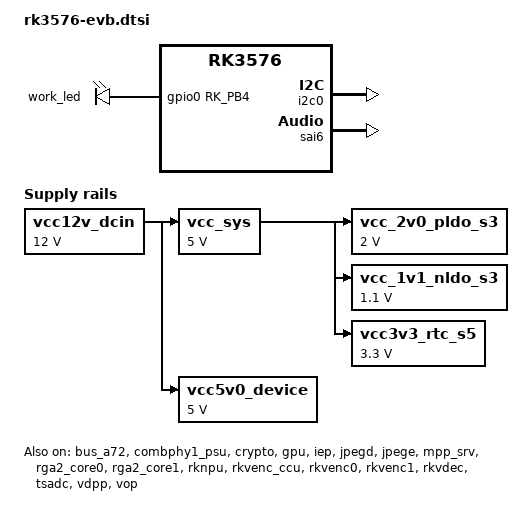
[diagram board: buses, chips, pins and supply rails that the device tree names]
// SPDX-License-Identifier: (GPL-2.0+ OR MIT)
/*
 * Copyright (c) 2024 Rockchip Electronics Co., Ltd.
 *
 */

#include <dt-bindings/gpio/gpio.h>
#include <dt-bindings/pwm/pwm.h>
#include <dt-bindings/pinctrl/rockchip.h>
#include <dt-bindings/input/rk-input.h>
#include <dt-bindings/display/drm_mipi_dsi.h>
#include <dt-bindings/display/rockchip_vop.h>
#include <dt-bindings/sensor-dev.h>
#include "rk3576-evb-input-keymap.dtsi"

/ {


	dp0_sound: dp0-sound {
		status = "disabled";
		compatible = "rockchip,hdmi";
		rockchip,mclk-fs = <512>;
		rockchip,card-name = "rockchip-dp0";
		rockchip,cpu = <&spdif_tx3>;
		rockchip,codec = <&dp0 1>;
		rockchip,jack-det;
	};

	dp1_sound: dp1-sound {
		status = "disabled";
		compatible = "rockchip,hdmi";
		rockchip,mclk-fs = <512>;
		rockchip,card-name = "rockchip-dp1";
		rockchip,cpu = <&spdif_tx3>;
		rockchip,codec = <&dp1 1>;
		rockchip,jack-det;
	};

	dp2_sound: dp2-sound {
		status = "disabled";
		compatible = "rockchip,hdmi";
		rockchip,mclk-fs = <512>;
		rockchip,card-name = "rockchip-dp2";
		rockchip,cpu = <&spdif_tx3>;
		rockchip,codec = <&dp2 1>;
		rockchip,jack-det;
	};

	edp_sound: edp-sound {
		status = "disabled";
		compatible = "rockchip,hdmi";
		rockchip,mclk-fs = <128>;
		rockchip,card-name = "rockchip-edp";
		rockchip,cpu = <&sai6>;
		rockchip,codec = <&edp 0>;
	};

	hdmi_sound: hdmi-sound {
		compatible = "rockchip,hdmi";
		rockchip,mclk-fs = <128>;
		rockchip,card-name = "rockchip-hdmi";
		rockchip,cpu = <&sai6>;
		rockchip,codec = <&hdmi>;
		rockchip,jack-det;
	};

	leds: leds {
		compatible = "gpio-leds";
		work_led: work {
			gpios = <&gpio0 RK_PB4 GPIO_ACTIVE_HIGH>;
			linux,default-trigger = "heartbeat";
		};
	};

	test-power {
		status = "okay";
	};

	vcc12v_dcin: vcc12v-dcin {
		compatible = "regulator-fixed";
		regulator-name = "vcc12v_dcin";
		regulator-always-on;
		regulator-boot-on;
		regulator-min-microvolt = <12000000>;
		regulator-max-microvolt = <12000000>;
	};

	vcc_sys: vcc5v0-sys {
		compatible = "regulator-fixed";
		regulator-name = "vcc_sys";
		regulator-always-on;
		regulator-boot-on;
		regulator-min-microvolt = <5000000>;
		regulator-max-microvolt = <5000000>;
		vin-supply = <&vcc12v_dcin>;
	};

	vcc5v0_device: vcc5v0-device {
		compatible = "regulator-fixed";
		regulator-name = "vcc5v0_device";
		regulator-always-on;
		regulator-boot-on;
		regulator-min-microvolt = <5000000>;
		regulator-max-microvolt = <5000000>;
		vin-supply = <&vcc12v_dcin>;
	};

	vcc_2v0_pldo_s3: vcc-2v0-pldo-s3 {
		compatible = "regulator-fixed";
		regulator-name = "vcc_2v0_pldo_s3";
		regulator-boot-on;
		regulator-always-on;
		regulator-min-microvolt = <2000000>;
		regulator-max-microvolt = <2000000>;
		vin-supply = <&vcc_sys>;
	};

	vcc_1v1_nldo_s3: vcc-1v1-nldo-s3 {
		compatible = "regulator-fixed";
		regulator-name = "vcc_1v1_nldo_s3";
		regulator-boot-on;
		regulator-always-on;
		regulator-min-microvolt = <1100000>;
		regulator-max-microvolt = <1100000>;
		vin-supply = <&vcc_sys>;
	};

	vcc3v3_rtc_s5: vcc3v3-rtc-s5 {
		compatible = "regulator-fixed";
		regulator-name = "vcc3v3_rtc_s5";
		regulator-boot-on;
		regulator-always-on;
		regulator-min-microvolt = <3300000>;
		regulator-max-microvolt = <3300000>;
		vin-supply = <&vcc_sys>;
	};


	 wireless_bluetooth: wireless-bluetooth {
		status = "disabled";
	};

	wireless_wlan: wireless-wlan {
		status = "disabled";
	};
	
	
};

&bus_a72 {
	bus-supply = <&vdd_logic_s0>;
	pvtm-supply = <&vdd_logic_s0>;
	status = "okay";
};



&combphy1_psu {
	status = "okay";
};

&cpu_l0 {
	cpu-supply = <&vdd_cpu_lit_s0>;
};

&cpu_b0 {
	cpu-supply = <&vdd_cpu_big_s0>;
};

&crypto {
	status = "okay";
};

&display_subsystem {
	clocks = <&hdptxphy_hdmi>;
	clock-names = "hdmi0_phy_pll";
};





&gpu {
	mali-supply = <&vdd_gpu_s0>;
	status = "okay";
};

&i2c0 {
	pinctrl-0 = <&i2c0m1_xfer>;
	status = "okay";

	gt1x: gt1x@14 {
		status = "disabled";
		compatible = "goodix,gt1x";
		/* reg = <0x14>; */
		pinctrl-names = "default";
		/* pinctrl-0 = <&touch_gpio>; */
		/* goodix,rst-gpio = <&gpio0 RK_PD0 GPIO_ACTIVE_HIGH>; */
		goodix,irq-gpio = <&gpio0 RK_PC5 IRQ_TYPE_LEVEL_LOW>;
	};
};



&iep {
	status = "okay";
};

&iep_mmu {
	status = "okay";
};

&jpegd {
	status = "okay";
};

&jpege {
	status = "okay";
};

&jpeg_mmu {
	status = "okay";
};

&mpp_srv {
	status = "okay";
};


&pinctrl {
	touch {
		touch_gpio: touch-gpio {
			rockchip,pins =
				<0 RK_PD0 RK_FUNC_GPIO &pcfg_pull_up>,
				<0 RK_PC5 RK_FUNC_GPIO &pcfg_pull_up>;
		};
	};

	
};


&rga2_core0 {
	status = "okay";
};

&rga2_core0_mmu {
	status = "okay";
};

&rga2_core1 {
	status = "okay";
};

&rga2_core1_mmu {
	status = "okay";
};

&rknpu {
	rknpu-supply = <&vdd_npu_s0>;
	status = "okay";
};

&rknpu_mmu {
	status = "okay";
};

&rkvenc_ccu {
	status = "okay";
};

&rkvenc0 {
	status = "okay";
};

&rkvenc0_mmu {
	status = "okay";
};

&rkvenc1 {
	status = "okay";
};

&rkvenc1_mmu {
	status = "okay";

};

&rkvdec {
	status = "okay";
};

&rkvdec_mmu {
	status = "okay";
};

&rockchip_suspend {
	status = "okay";
	rockchip,sleep-debug-en = <1>;

	rockchip,sleep-io-ret-config = <
		(0
		| RKPM_VCCIO3_RET_EN
		)
	>;

	rockchip,regulator-on-before-mem = <&vdd_npu_s0>;
};


&sai6 {
	status = "okay";
};





&tsadc {
	status = "okay";
};



&ufs {
	reset-gpios = <&gpio4 RK_PD0 GPIO_ACTIVE_HIGH>;
};



&vdpp {
	status = "okay";
};

&vop {
	status = "okay";
	vop-supply = <&vdd_logic_s0>;
};

&vop_mmu {
	status = "okay";
};

&vp2 {
	assigned-clocks = <&cru DCLK_VP2_SRC>;
	assigned-clock-parents = <&cru PLL_VPLL>;
};
